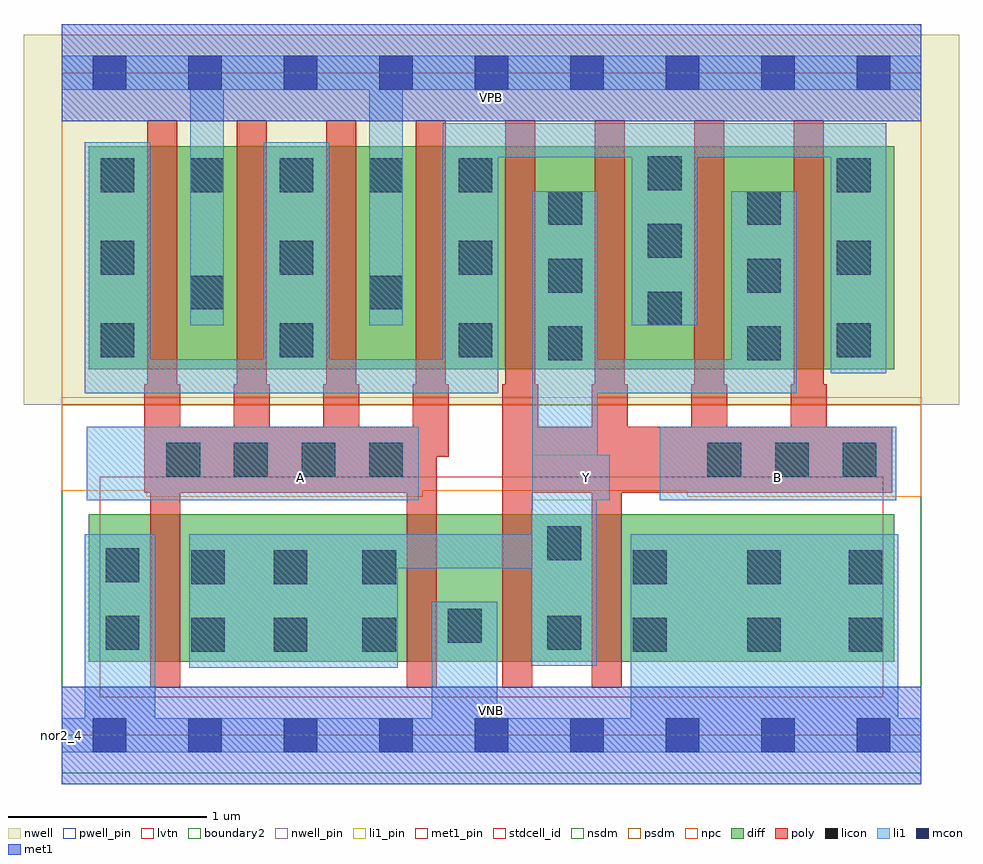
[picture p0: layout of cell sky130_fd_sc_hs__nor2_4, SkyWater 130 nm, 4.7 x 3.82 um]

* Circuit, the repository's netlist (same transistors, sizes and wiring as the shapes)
* Copyright 2020 The SkyWater PDK Authors
*
* Licensed under the Apache License, Version 2.0 (the "License");
* you may not use this file except in compliance with the License.
* You may obtain a copy of the License at
*
*     https://www.apache.org/licenses/LICENSE-2.0
*
* Unless required by applicable law or agreed to in writing, software
* distributed under the License is distributed on an "AS IS" BASIS,
* WITHOUT WARRANTIES OR CONDITIONS OF ANY KIND, either express or implied.
* See the License for the specific language governing permissions and
* limitations under the License.
*
* SPDX-License-Identifier: Apache-2.0


.subckt sky130_fd_sc_hs__nor2_4 A B VGND VNB VPB VPWR Y
X0 a_27_368# A VPWR VPB sky130_fd_pr__pfet_01v8 w=1.12 l=150000u
X1 a_27_368# B Y VPB sky130_fd_pr__pfet_01v8 w=1.12 l=150000u
X2 VGND B Y VNB sky130_fd_pr__nfet_01v8_lvt w=740000u l=150000u
X3 a_27_368# A VPWR VPB sky130_fd_pr__pfet_01v8 w=1.12 l=150000u
X4 Y B a_27_368# VPB sky130_fd_pr__pfet_01v8 w=1.12 l=150000u
X5 a_27_368# B Y VPB sky130_fd_pr__pfet_01v8 w=1.12 l=150000u
X6 VGND A Y VNB sky130_fd_pr__nfet_01v8_lvt w=740000u l=150000u
X7 VPWR A a_27_368# VPB sky130_fd_pr__pfet_01v8 w=1.12 l=150000u
X8 VPWR A a_27_368# VPB sky130_fd_pr__pfet_01v8 w=1.12 l=150000u
X9 Y A VGND VNB sky130_fd_pr__nfet_01v8_lvt w=740000u l=150000u
X10 Y B VGND VNB sky130_fd_pr__nfet_01v8_lvt w=740000u l=150000u
X11 Y B a_27_368# VPB sky130_fd_pr__pfet_01v8 w=1.12 l=150000u
.ends

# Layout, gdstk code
import gdstk
lib = gdstk.Library(unit=1e-6, precision=1e-09)
def R(c, l, rs):  # rectangles x0, y0, x1, y1
    for r in rs: c.add(gdstk.rectangle(r[:2], r[2:], *l))
def A(c, l, x, y, w, h, nx, ny, dx, dy):  # array of equal rectangles
    R(c, l, [(x+i*dx, y+j*dy, x+i*dx+w, y+j*dy+h) for i in range(nx) for j in range(ny)])
def P(c, l, *ps):  # polygons
    for p in ps: c.add(gdstk.Polygon(p, *l))
nwell_pin = (64, 16)
nwell = (64, 20)
diff = (65, 20)
poly = (66, 20)
licon = (66, 44)
li1_pin = (67, 16)
li1 = (67, 20)
mcon = (67, 44)
met1_pin = (68, 16)
met1 = (68, 20)
stdcell_id = (81, 4)
nsdm = (93, 44)
psdm = (94, 20)
npc = (95, 20)
pwell_pin = (122, 16)
lvtn = (125, 44)
boundary2 = (236, 0)

sky130_fd_sc_hs__nor2_4 = lib.new_cell('sky130_fd_sc_hs__nor2_4')
R(sky130_fd_sc_hs__nor2_4, nwell_pin, [(0,3.085,4.32,3.33)])
R(sky130_fd_sc_hs__nor2_4, nwell, [(-0.19,1.66,4.51,3.52)])
R(sky130_fd_sc_hs__nor2_4, diff, [(0.135,0.37,4.185,1.11), (0.135,1.84,4.185,2.96)])
P(sky130_fd_sc_hs__nor2_4, poly, [(2.215,0.24),(2.215,1.765),(2.23,1.765),(2.23,3.09),(2.38,3.09),(2.38,1.765),(2.395,1.765),(2.395,1.55),(2.665,1.55),(2.665,1.765),(2.68,1.765),(2.68,3.09),(2.83,3.09),(2.83,1.765),(2.845,1.765),(2.845,1.55),(3.165,1.55),(3.165,1.765),(3.18,1.765),(3.18,3.09),(3.33,3.09),(3.33,1.765),(3.345,1.765),(3.345,1.55),(3.665,1.55),(3.665,1.765),(3.68,1.765),(3.68,3.09),(3.83,3.09),(3.83,1.765),(3.845,1.765),(3.845,1.55),(4.175,1.55),(4.175,1.22),(2.815,1.22),(2.815,0.24),(2.665,0.24),(2.665,1.22),(2.365,1.22),(2.365,0.24)],
  [(0.445,0.24),(0.445,1.22),(0.415,1.22),(0.415,1.765),(0.43,1.765),(0.43,3.09),(0.58,3.09),(0.58,1.765),(0.595,1.765),(0.595,1.55),(0.865,1.55),(0.865,1.765),(0.88,1.765),(0.88,3.09),(1.03,3.09),(1.03,1.765),(1.045,1.765),(1.045,1.55),(1.315,1.55),(1.315,1.765),(1.33,1.765),(1.33,3.09),(1.48,3.09),(1.48,1.765),(1.495,1.765),(1.495,1.55),(1.765,1.55),(1.765,1.765),(1.78,1.765),(1.78,3.09),(1.93,3.09),(1.93,1.765),(1.945,1.765),(1.945,1.4),(1.885,1.4),(1.885,0.24),(1.735,0.24),(1.735,1.22),(0.595,1.22),(0.595,0.24)])
A(sky130_fd_sc_hs__nor2_4, licon, 0.525, 1.3, 0.17, 0.17, 4, 1, 0.34, 0)
A(sky130_fd_sc_hs__nor2_4, licon, 3.245, 1.3, 0.17, 0.17, 3, 1, 0.34, 0)
A(sky130_fd_sc_hs__nor2_4, licon, 2.445, 1.885, 0.17, 0.17, 1, 3, 0, 0.34)
A(sky130_fd_sc_hs__nor2_4, licon, 3.445, 1.885, 0.17, 0.17, 1, 3, 0, 0.34)
A(sky130_fd_sc_hs__nor2_4, licon, 0.195, 1.9, 0.17, 0.17, 3, 2, 0.9, 0.415)
A(sky130_fd_sc_hs__nor2_4, licon, 3.895, 1.9, 0.17, 0.17, 1, 3, 0, 0.415)
A(sky130_fd_sc_hs__nor2_4, licon, 2.945, 2.06, 0.17, 0.17, 1, 3, 0, 0.34)
A(sky130_fd_sc_hs__nor2_4, licon, 0.195, 2.73, 0.17, 0.17, 5, 1, 0.45, 0)
R(sky130_fd_sc_hs__nor2_4, licon, [(0.65,0.42,0.82,0.59), (1.065,0.42,1.235,0.59), (1.51,0.42,1.68,0.59), (2.87,0.42,3.04,0.59), (3.445,0.42,3.615,0.59), (3.955,0.42,4.125,0.59), (0.22,0.43,0.39,0.6), (2.44,0.43,2.61,0.6), (1.94,0.465,2.11,0.635), (0.65,0.76,0.82,0.93), (1.065,0.76,1.235,0.93), (1.51,0.76,1.68,0.93), (2.87,0.76,3.04,0.93), (3.445,0.76,3.615,0.93), (3.955,0.76,4.125,0.93), (0.22,0.77,0.39,0.94), (2.44,0.88,2.61,1.05), (0.645,2.14,0.815,2.31), (1.545,2.14,1.715,2.31)])
R(sky130_fd_sc_hs__nor2_4, li1_pin, [(0.125,1.18,1.795,1.55), (2.365,1.18,2.755,1.41), (3.005,1.18,4.195,1.55)])
R(sky130_fd_sc_hs__nor2_4, li1, [(0.125,1.18,1.795,1.55), (3.005,1.18,4.195,1.55)])
P(sky130_fd_sc_hs__nor2_4, li1, [(0,-0.085),(0,0.085),(0.115,0.085),(0.115,1.01),(0.47,1.01),(0.47,0.085),(1.86,0.085),(1.86,0.67),(2.19,0.67),(2.19,0.085),(2.86,0.085),(2.86,1.01),(4.205,1.01),(4.205,0.085),(4.32,0.085),(4.32,-0.085)],
  [(0.645,2.06),(0.645,3.245),(0,3.245),(0,3.415),(4.32,3.415),(4.32,3.245),(1.715,3.245),(1.715,2.06),(1.545,2.06),(1.545,3.245),(0.815,3.245),(0.815,2.06)],
  [(0.64,0.34),(0.64,1.01),(2.36,1.01),(2.36,1.13),(2.365,1.13),(2.365,2.735),(2.695,2.735),(2.695,1.89),(3.365,1.89),(3.365,2.735),(3.695,2.735),(3.695,1.72),(2.695,1.72),(2.695,1.41),(2.755,1.41),(2.755,1.18),(2.69,1.18),(2.69,0.35),(2.36,0.35),(2.36,0.84),(1.69,0.84),(1.69,0.34)],
  [(0.115,1.72),(0.115,2.98),(0.445,2.98),(0.445,1.89),(1.015,1.89),(1.015,2.98),(1.345,2.98),(1.345,1.89),(1.915,1.89),(1.915,3.075),(4.145,3.075),(4.145,1.82),(3.865,1.82),(3.865,2.905),(3.195,2.905),(3.195,2.06),(2.865,2.06),(2.865,2.905),(2.195,2.905),(2.195,1.72)])
A(sky130_fd_sc_hs__nor2_4, mcon, 0.155, -0.085, 0.17, 0.17, 9, 2, 0.48, 3.33)
R(sky130_fd_sc_hs__nor2_4, met1_pin, [(0,-0.245,4.32,0.245), (0,3.085,4.32,3.575)])
R(sky130_fd_sc_hs__nor2_4, met1, [(0,-0.245,4.32,0.245), (0,3.085,4.32,3.575)])
R(sky130_fd_sc_hs__nor2_4, stdcell_id, [(0,0,4.32,3.33)])
R(sky130_fd_sc_hs__nor2_4, nsdm, [(0,-0.19,4.32,1.66)])
R(sky130_fd_sc_hs__nor2_4, psdm, [(0,1.66,4.32,3.52)])
P(sky130_fd_sc_hs__nor2_4, npc, [(0.425,1.2),(0.425,1.23),(0,1.23),(0,1.7),(4.32,1.7),(4.32,1.2),(3.145,1.2),(3.145,1.23),(1.815,1.23),(1.815,1.2)])
R(sky130_fd_sc_hs__nor2_4, pwell_pin, [(0,0,4.32,0.245)])
R(sky130_fd_sc_hs__nor2_4, lvtn, [(0.19,0.19,4.13,1.3)])
R(sky130_fd_sc_hs__nor2_4, boundary2, [(0,0,4.32,3.33)])
sky130_fd_sc_hs__nor2_4.add(gdstk.Label('nor2_4', (0,0), layer=83, texttype=44))
sky130_fd_sc_hs__nor2_4.add(gdstk.Label('VNB', (2.16,0.123), layer=64, texttype=59))
sky130_fd_sc_hs__nor2_4.add(gdstk.Label('VPB', (2.16,3.208), layer=64, texttype=5))
sky130_fd_sc_hs__nor2_4.add(gdstk.Label('VPWR', (2.16,3.208), layer=68, texttype=5))
sky130_fd_sc_hs__nor2_4.add(gdstk.Label('VGND', (2.16,0.123), layer=68, texttype=5))
sky130_fd_sc_hs__nor2_4.add(gdstk.Label('Y', (2.64,1.295), layer=67, texttype=5))
sky130_fd_sc_hs__nor2_4.add(gdstk.Label('A', (1.2,1.295), layer=67, texttype=5))
sky130_fd_sc_hs__nor2_4.add(gdstk.Label('B', (3.6,1.295), layer=67, texttype=5))

lib.write_gds('sky130_fd_sc_hs__nor2_4.gds')
